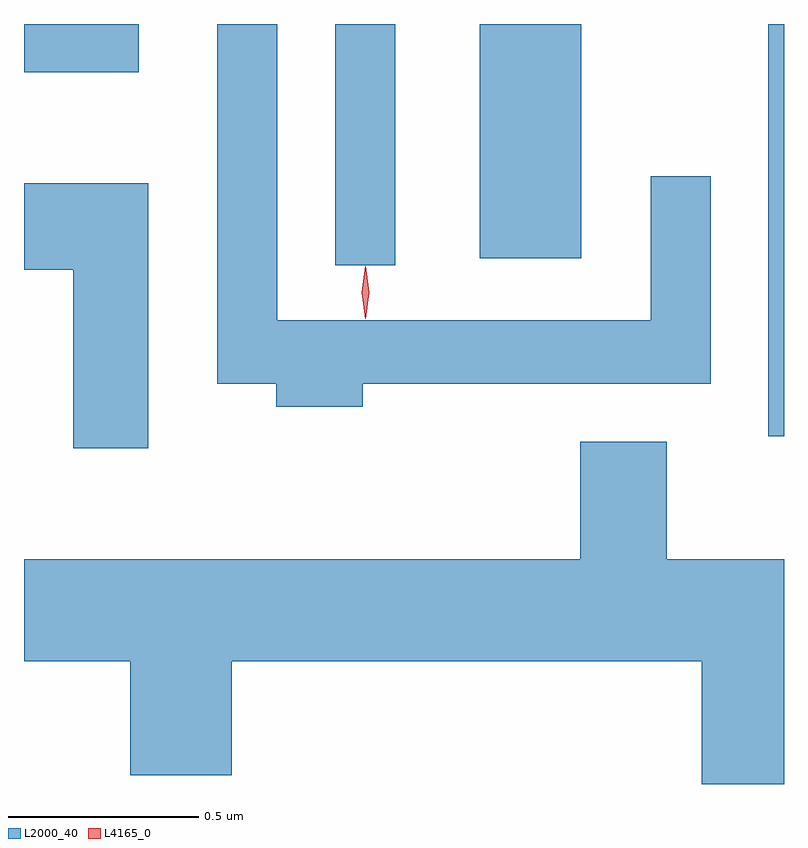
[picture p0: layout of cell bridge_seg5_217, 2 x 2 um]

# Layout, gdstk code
import gdstk
lib = gdstk.Library(unit=1e-6, precision=1e-09)
def R(c, l, rs):  # rectangles x0, y0, x1, y1
    for r in rs: c.add(gdstk.rectangle(r[:2], r[2:], *l))
def P(c, l, *ps):  # polygons
    for p in ps: c.add(gdstk.Polygon(p, *l))
L2000_40 = (2000, 40)
L4165_0 = (4165, 0)

bridge_seg5_217 = lib.new_cell('bridge_seg5_217')
R(bridge_seg5_217, L2000_40, [(1275.696,1419.648,1275.737,1420.733), (1274.556,1420.098,1274.714,1420.733), (1274.936,1420.116,1275.204,1420.733), (1273.737,1420.606,1274.039,1420.733)])
P(bridge_seg5_217, L2000_40, [(1274.629,1419.786),(1275.544,1419.786),(1275.544,1420.333),(1275.386,1420.333),(1275.386,1419.954),(1274.404,1419.954),(1274.404,1420.733),(1274.246,1420.733),(1274.246,1419.786),(1274.401,1419.786),(1274.401,1419.726),(1274.629,1419.726)],
  [(1274.064,1420.314),(1273.737,1420.314),(1273.737,1420.086),(1273.866,1420.086),(1273.866,1419.616),(1274.064,1419.616)],
  [(1275.737,1419.324),(1275.429,1419.324),(1275.429,1419.634),(1275.201,1419.634),(1275.201,1419.324),(1273.737,1419.324),(1273.737,1419.056),(1274.016,1419.056),(1274.016,1418.756),(1274.284,1418.756),(1274.284,1419.056),(1275.521,1419.056),(1275.521,1418.733),(1275.737,1418.733)])
P(bridge_seg5_217, L4165_0, [(1274.635,1419.957),(1274.626,1420.027),(1274.635,1420.096),(1274.636,1420.096),(1274.636,1420.096),(1274.646,1420.027),(1274.636,1419.957),(1274.636,1419.957)],
  [(1274.636,1419.959),(1274.635,1419.96),(1274.626,1420.026),(1274.635,1420.092),(1274.636,1420.093),(1274.636,1420.092),(1274.646,1420.026),(1274.636,1419.96)])

lib.write_gds('bridge_seg5_217.gds')
